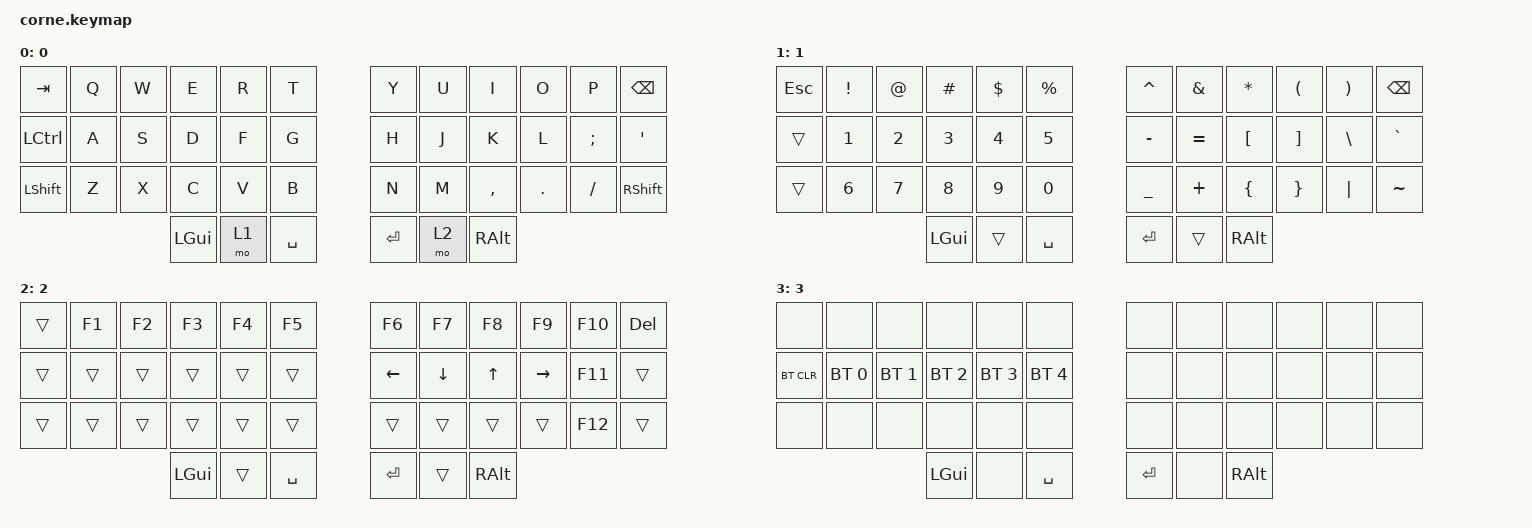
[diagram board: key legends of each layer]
/*
 * Copyright (c) 2020 The ZMK Contributors
 *
 * SPDX-License-Identifier: MIT
 */

#include <behaviors.dtsi>
#include <dt-bindings/zmk/bt.h>
#include <dt-bindings/zmk/keys.h>

/ {
    combos {
        compatible = "zmk,combos";

        ctrl_layer {
            bindings = <&mo 3>;
            key-positions = <37 40>;
        };
    };

    keymap {
        compatible = "zmk,keymap";

        default {
            display-name = "0";

            // -----------------------------------------------------------------------------------------
            // |  TAB |  Q  |  W  |  E  |  R  |  T  |   |  Y  |  U   |  I  |  O  |  P  | BSPC |
            // | CTRL |  A  |  S  |  D  |  F  |  G  |   |  H  |  J   |  K  |  L  |  ;  |  '   |
            // | SHFT |  Z  |  X  |  C  |  V  |  B  |   |  N  |  M   |  ,  |  .  |  /  | ESC  |
            //                    | GUI | LWR | SPC |   | ENT | RSE  | ALT |

            bindings = <
&kp TAB           &kp Q  &kp W  &kp E     &kp R  &kp T        &kp Y    &kp U  &kp I      &kp O    &kp P     &kp BSPC
&kp LEFT_CONTROL  &kp A  &kp S  &kp D     &kp F  &kp G        &kp H    &kp J  &kp K      &kp L    &kp SEMI  &kp SQT
&kp LSHIFT        &kp Z  &kp X  &kp C     &kp V  &kp B        &kp N    &kp M  &kp COMMA  &kp DOT  &kp FSLH  &kp RSHIFT
                                &kp LGUI  &mo 1  &kp SPACE    &kp RET  &mo 2  &kp RALT
            >;
        };

        lower {
            display-name = "1";

            // -----------------------------------------------------------------------------------------
            // |  TAB |  !  |  @  |  #  |  $  |  %  |   |  ^  |  &  |  *  |  (  |  )  | BSPC |
            // | CTRL |     |     |     |     |     |   |  -  |  =  |  [  |  ]  |  \  |  `   |
            // | SHFT |     |     |     |     |     |   |  _  |  +  |  {  |  }  | "|" |  ~   |
            //                    | GUI |     | SPC |   | ENT |     | ALT |

            bindings = <
&kp ESC  &kp EXCL      &kp AT        &kp HASH      &kp DLLR      &kp PRCNT       &kp CARET  &kp AMPS   &kp ASTRK  &kp LPAR  &kp RPAR  &kp BSPC
&trans   &kp NUMBER_1  &kp NUMBER_2  &kp NUMBER_3  &kp NUMBER_4  &kp NUMBER_5    &kp MINUS  &kp EQUAL  &kp LBKT   &kp RBKT  &kp BSLH  &kp GRAVE
&trans   &kp NUMBER_6  &kp NUMBER_7  &kp NUMBER_8  &kp NUMBER_9  &kp NUMBER_0    &kp UNDER  &kp PLUS   &kp LBRC   &kp RBRC  &kp PIPE  &kp TILDE
                                     &kp LGUI      &trans        &kp SPACE       &kp RET    &trans     &kp RALT
            >;
        };

        raise {
            bindings = <
&trans  &kp F1  &kp F2  &kp F3    &kp F4  &kp F5       &kp F6     &kp F7    &kp F8    &kp F9     &kp F10  &kp DEL
&trans  &trans  &trans  &trans    &trans  &trans       &kp LEFT   &kp DOWN  &kp UP    &kp RIGHT  &kp F11  &trans
&trans  &trans  &trans  &trans    &trans  &trans       &trans     &trans    &trans    &trans     &kp F12  &trans
                        &kp LGUI  &trans  &kp SPACE    &kp ENTER  &trans    &kp RALT
            >;

            label = "2";
        };

        control {
            display-name = "3";

            // -----------------------------------------------------------------------------------------
            // |  TAB |  1  |  2  |  3  |  4  |  5  |   |  6  |  7  |  8  |  9  |  0  | BSPC |
            // | BTCLR| BT1 | BT2 | BT3 | BT4 | BT5 |   | LFT | DWN |  UP | RGT |     |      |
            // | SHFT |     |     |     |     |     |   |     |     |     |     |     |      |
            //                    | GUI |     | SPC |   | ENT |     | ALT |

            bindings = <
&none       &none         &none         &none         &none         &none           &none    &none  &none     &none  &none  &none
&bt BT_CLR  &bt BT_SEL 0  &bt BT_SEL 1  &bt BT_SEL 2  &bt BT_SEL 3  &bt BT_SEL 4    &none    &none  &none     &none  &none  &none
&none       &none         &none         &none         &none         &none           &none    &none  &none     &none  &none  &none
                                        &kp LGUI      &none         &kp SPACE       &kp RET  &none  &kp RALT
            >;
        };
    };
};
